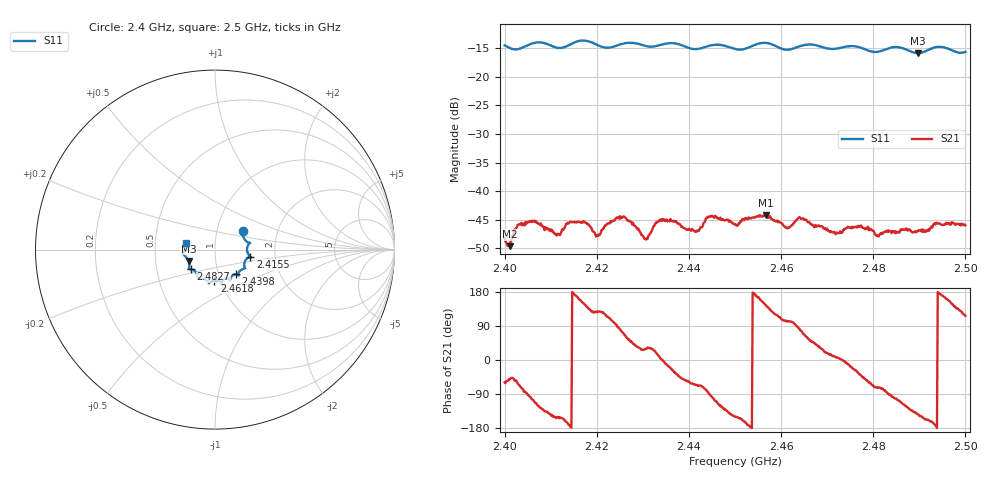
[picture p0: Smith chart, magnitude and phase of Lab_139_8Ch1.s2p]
# Hz S RI R 50
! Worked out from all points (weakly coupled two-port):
!   601 points, 2.4 GHz to 2.5 GHz, reference 50 ohm
!   highest |S21| = -44.14 dB at 2.4567 GHz (marker M1); lowest = -49.6 dB at 2.4012 GHz (marker M2)
!   lowest |S11| = -15.9 dB at 2.4897 GHz (marker M3), VSWR 1.38, Z = 36.9 - j4.85 ohm
!   |S11| at or under -10 dB: start of sweep to end of sweep
!   S12 and S22 are empty: the file has one direction only
!   S11 on the Smith chart (normalised r, x): 2.4 GHz: 1.33, +0.29; 2.4155 GHz: 1.49, -0.12; 2.4398 GHz: 1.21, -0.34; 2.4618 GHz: 0.94, -0.33; 2.4827 GHz: 0.75, -0.17; 2.5 GHz: 0.72, +0.06
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2.4e9  0.155 0.1058  0.00199 -0.00333  0 0  0 0
2.401167e9  0.1547 0.0875  0.00208 -0.00257  0 0  0 0
2.403333e9  0.167 0.0545  0.00185 -0.00474  0 0  0 0
2.4065e9  0.1941 0.0376  -0.00195 -0.00518  0 0  0 0
2.4115e9  0.1782 0.00733  -0.00371 -0.00207  0 0  0 0
2.4155e9  0.1976 -0.0397  -0.00528 0.000965  0 0  0 0
2.416667e9  0.2023 -0.0432  -0.00481 0.00232  0 0  0 0
2.420333e9  0.1816 -0.0476  -0.00252 0.00319  0 0  0 0
2.425833e9  0.1668 -0.1008  0.00207 0.00563  0 0  0 0
2.430667e9  0.1466 -0.1133  0.0033 0.00184  0 0  0 0
2.433333e9  0.1304 -0.1341  0.0053 0.00112  0 0  0 0
2.439833e9  0.1155 -0.1365  0.00245 -0.00389  0 0  0 0
2.444667e9  0.0837 -0.1675  -0.000365 -0.00596  0 0  0 0
2.45e9  0.0647 -0.162  -0.00445 -0.0026  0 0  0 0
2.456667e9  0.039 -0.1934  -0.00511 0.00352  0 0  0 0
2.461833e9  -0.0035 -0.1726  -0.000982 0.00472  0 0  0 0
2.464167e9  -0.0291 -0.1827  0.00121 0.00571  0 0  0 0
2.466667e9  -0.0347 -0.1877  0.00331 0.00382  0 0  0 0
2.482667e9  -0.1347 -0.1088  0.000561 -0.00437  0 0  0 0
2.483333e9  -0.1398 -0.1083  -2.03e-06 -0.00454  0 0  0 0
2.489667e9  -0.1471 -0.064  -0.00357 -0.0027  0 0  0 0
2.5e9  -0.1598 0.0387  -0.00224 0.0045  0 0  0 0
